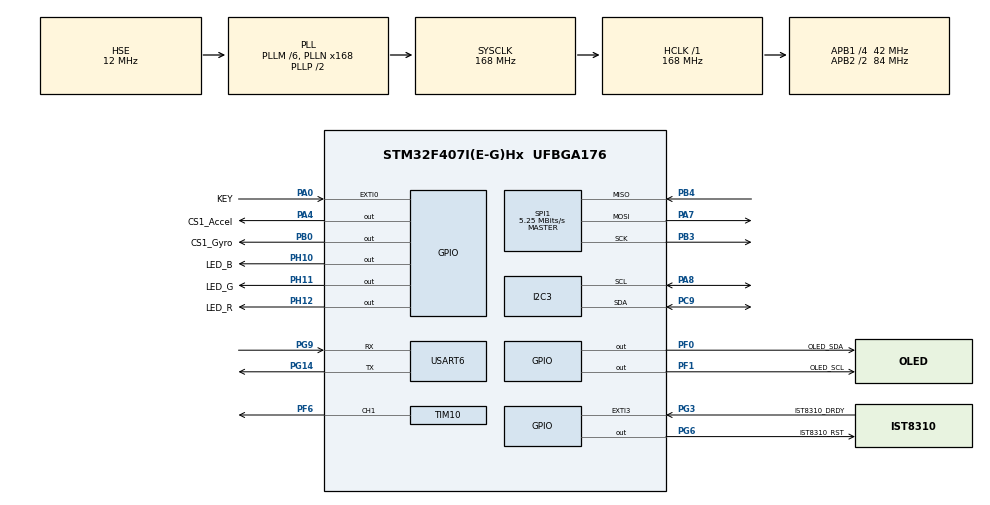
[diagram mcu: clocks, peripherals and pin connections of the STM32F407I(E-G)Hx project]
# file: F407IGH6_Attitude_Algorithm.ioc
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I2C3.I2C_Mode=I2C_Fast
Mcu.Family=STM32F4
Mcu.Name=STM32F407I(E-G)Hx
Mcu.Package=UFBGA176
NVIC.EXTI0_IRQn=true\:0\:0\:false\:false\:true\:true\:true\:true
NVIC.PriorityGroup=NVIC_PRIORITYGROUP_4
NVIC.TIM2_IRQn=true\:0\:0\:true\:false\:true\:true\:true\:true
PA0-WKUP.GPIO_Label=KEY
PA0-WKUP.GPIO_ModeDefaultEXTI=GPIO_MODE_IT_FALLING
PA0-WKUP.GPIO_PuPd=GPIO_PULLUP
PA0-WKUP.Signal=GPXTI0
PA13.Mode=Serial_Wire
PA13.Signal=SYS_JTMS-SWDIO
PA14.Mode=Serial_Wire
PA14.Signal=SYS_JTCK-SWCLK
PA4.GPIO_Label=CS1_Accel
PA4.PinState=GPIO_PIN_SET
PA4.Signal=GPIO_Output
PA7.Mode=Full_Duplex_Master
PA7.Signal=SPI1_MOSI
PA8.Mode=I2C
PA8.Signal=I2C3_SCL
PB0.GPIO_Label=CS1_Gyro
PB0.PinState=GPIO_PIN_SET
PB0.Signal=GPIO_Output
PB3.Mode=Full_Duplex_Master
PB3.Signal=SPI1_SCK
PB4.Mode=Full_Duplex_Master
PB4.Signal=SPI1_MISO
PC9.Mode=I2C
PC9.Signal=I2C3_SDA
PF0.GPIO_Label=OLED_SDA
PF0.Signal=GPIO_Output
PF1.GPIO_Label=OLED_SCL
PF1.Signal=GPIO_Output
PF6.Signal=S_TIM10_CH1
PG14.Mode=Asynchronous
PG14.Signal=USART6_TX
PG3.GPIO_Label=IST8310_DRDY
PG3.GPIO_ModeDefaultEXTI=GPIO_MODE_IT_FALLING
PG3.Signal=GPXTI3
PG6.GPIO_Label=IST8310_RST
PG6.GPIO_PuPd=GPIO_PULLUP
PG6.PinState=GPIO_PIN_SET
PG6.Signal=GPIO_Output
PG9.Mode=Asynchronous
PG9.Signal=USART6_RX
PH0-OSC_IN.Mode=HSE-External-Oscillator
PH0-OSC_IN.Signal=RCC_OSC_IN
PH1-OSC_OUT.Mode=HSE-External-Oscillator
PH1-OSC_OUT.Signal=RCC_OSC_OUT
PH10.GPIO_Label=LED_B
PH10.Signal=GPIO_Output
PH11.GPIO_Label=LED_G
PH11.Signal=GPIO_Output
PH12.GPIO_Label=LED_R
PH12.Signal=GPIO_Output
ProjectManager.HeapSize=0x200
ProjectManager.StackSize=0x400
ProjectManager.TargetToolchain=STM32CubeIDE
RCC.48MHZClocksFreq_Value=84000000
RCC.AHBFreq_Value=168000000
RCC.APB1CLKDivider=RCC_HCLK_DIV4
RCC.APB1Freq_Value=42000000
RCC.APB1TimFreq_Value=84000000
RCC.APB2CLKDivider=RCC_HCLK_DIV2
RCC.APB2Freq_Value=84000000
RCC.APB2TimFreq_Value=168000000
RCC.CortexFreq_Value=168000000
RCC.HCLKFreq_Value=168000000
RCC.HSE_VALUE=12000000
RCC.HSI_VALUE=16000000
RCC.LSE_VALUE=32768
RCC.PLLM=6
RCC.PLLN=168
RCC.PLLSourceVirtual=RCC_PLLSOURCE_HSE
RCC.SYSCLKFreq_VALUE=168000000
RCC.SYSCLKSource=RCC_SYSCLKSOURCE_PLLCLK
RCC.VCOOutputFreq_Value=336000000
SH.S_TIM10_CH1.0=TIM10_CH1,PWM Generation1 CH1
SPI1.BaudRatePrescaler=SPI_BAUDRATEPRESCALER_16
SPI1.CLKPhase=SPI_PHASE_2EDGE
SPI1.CLKPolarity=SPI_POLARITY_HIGH
SPI1.CalculateBaudRate=5.25 MBits/s
SPI1.Direction=SPI_DIRECTION_2LINES
SPI1.Mode=SPI_MODE_MASTER
SPI1.VirtualType=VM_MASTER
TIM10.AutoReloadPreload=TIM_AUTORELOAD_PRELOAD_ENABLE
TIM10.Channel=TIM_CHANNEL_1
TIM10.Period=999
TIM10.Prescaler=167
TIM2.AutoReloadPreload=TIM_AUTORELOAD_PRELOAD_ENABLE
TIM2.Period=999
TIM2.Prescaler=83
USART6.VirtualMode=VM_ASYNC
VP_TIM10_VS_ClockSourceINT.Mode=Enable_Timer
VP_TIM2_VS_ClockSourceINT.Mode=Internal
board=custom

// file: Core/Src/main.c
/* USER CODE BEGIN Header */
/**
  ******************************************************************************
  * @file           : main.c
  * @brief          : Main program body
  ******************************************************************************
  * @attention
  *
  * Copyright (c) 2023 STMicroelectronics.
  * All rights reserved.
  *
  * This software is licensed under terms that can be found in the LICENSE file
  * in the root directory of this software component.
  * If no LICENSE file comes with this software, it is provided AS-IS.
  *
  ******************************************************************************
  */
/* USER CODE END Header */
#include "main.h"
#include "i2c.h"
#include "spi.h"
#include "tim.h"
#include "usart.h"
#include "gpio.h"

/* USER CODE BEGIN Includes */
#include "LED_F407.h"
#include "OLED.h"
#include "IST8310.h"
#include "BMI088.h"
#include "IMU_C.h"
#include "kalman.h"
/* USER CODE END Includes */

/* USER CODE BEGIN PV */
float accdata[3] = {0};
float gyrodata[3] = {0};
float magdata[3] = {0};
float g_roll;
float g_pitch;
float g_yaw;
float g_filter_yaw;
float g_kalman_yaw;
float g_temperature = 0;
uint8_t g_oled_page = 0;
LOW_PASS_FILTER_Typedef g_filter_yaw_struct = {
		.frame_period = 0.01,
		.filter_factor = 0.04
};
kalman g_kalman_yaw_struct = {
		.X_last = (float)0,
		.P_last = 0,
		.Q = 10,
		.R = 400,
		.A = 1,
		.H = 1,
		.X_mid = 0
};
/* USER CODE END PV */

void SystemClock_Config(void);
/* USER CODE BEGIN PFP */
//void HAL_WWDG_EarlyWakeupCallback(WWDG_HandleTypeDef *hwwdg)
//{
////	 LED_ON(LED_R);
//	HAL_WWDG_Refresh(&hwwdg);
//}

void HAL_TIM_PeriodElapsedCallback(TIM_HandleTypeDef *htim)
{
	static uint16_t count = 0;
	if (htim->Instance == TIM2)
	{
		count++;
		count %= 1000;
		if(count % 10 == 0)
		{
//			HAL_WWDG_Refresh(&hwwdg);
			IMU_Data_Fusion_Mahony(0.005, &g_roll, &g_pitch, &g_yaw);
			g_filter_yaw = low_pass_filter(&g_filter_yaw_struct, g_yaw);
			g_kalman_yaw = KalmanFilter(&g_kalman_yaw_struct, g_yaw);
//			g_temperature = BMI088_Get_Temperature();
		}
		if(count % 500 == 0)
		{
			LED_TOG(LED_R);
		}
	}
}

#ifdef OLED
void HAL_GPIO_EXTI_Callback(uint16_t GPIO_Pin)
{
	if (GPIO_Pin == KEY_Pin)
	{
		if (HAL_GPIO_ReadPin(KEY_GPIO_Port, KEY_Pin) == GPIO_PIN_RESET)
		{
			g_oled_page++;
			g_oled_page %= 5;
			LED_TOG(LED_B);
			OLED_Clear();
			OLED_ShowNum(1, 14, g_oled_page, 1);
		}
	}
}
#endif
/* USER CODE END PFP */

int main(void)
{

  /* MCU Configuration--------------------------------------------------------*/

  /* Reset of all peripherals, Initializes the Flash interface and the Systick. */
  HAL_Init();

  /* Configure the system clock */
  SystemClock_Config();

  /* Initialize all configured peripherals */
  MX_GPIO_Init();
  MX_TIM2_Init();
  MX_I2C3_Init();
  MX_SPI1_Init();
  MX_TIM10_Init();
  MX_USART6_UART_Init();
  /* USER CODE BEGIN 2 */
//  uint8_t IMU_error = 0;
  OLED_Init();
//  IMU_error = IMU_Init();
  IMU_Init();
  HAL_TIM_PWM_Start(&htim10, TIM_CHANNEL_1);
  HAL_TIM_Base_Start_IT(&htim2);

  IMU_Start();
  /* USER CODE END 2 */

  /* Infinite loop */
  while (1)
  {

    /* USER CODE BEGIN 3 */
#ifdef OLED
	  HAL_Delay(50);
	  switch (g_oled_page)
	  {
	  case 0:
		  OLED_ShowString(1, 1, "IMU DEMO");
		  OLED_ShowString(2, 1, "ERROR:");OLED_ShowBinNum(2, 7, IMU_error, 8);
		  OLED_ShowString(3, 1, "TEMP:"); OLED_Showfloat(3, 6, g_temperature, 4, 5);
		  break;
	  case 1:
		  OLED_ShowString(1, 1, "Angle");
		  OLED_Showfloat(2, 4, g_roll , 4, 4);
		  OLED_Showfloat(3, 4, g_pitch, 4, 4);
		  OLED_Showfloat(4, 4, g_yaw  , 4, 4);
		  break;
	  case 2:
		  BMI088_Getdata_Acc(accdata);
		  OLED_ShowString(1, 1, "A-C-C");
//		  OLED_ShowHexNum(1, 12, BMI088_Acc_ReadID(), 2);
		  OLED_Showfloat(2, 1, accdata[0], 4, 4);
		  OLED_Showfloat(3, 1, accdata[1], 4, 4);
		  OLED_Showfloat(4, 1, accdata[2], 4, 4);
		  break;
	  case 3:
		  BMI088_Getdata_Gyro(gyrodata);
		  OLED_ShowString(1, 1, "G-Y-R-O");
//		  OLED_ShowHexNum(1, 12, BMI088_Gyro_ReadID(), 2);
		  OLED_Showfloat(2, 1, gyrodata[0], 4, 5);
		  OLED_Showfloat(3, 1, gyrodata[1], 4, 5);
		  OLED_Showfloat(4, 1, gyrodata[2], 4, 5);
		  break;
	  case 4:
		  IST8310_Getdata_Mag(magdata);
		  OLED_ShowString(1, 1, "M-A-G");
		  OLED_ShowHexNum(1, 12, IST8310_ReadID(), 2);
		  OLED_Showfloat(2, 1, magdata[0], 4, 5);
		  OLED_Showfloat(3, 1, magdata[1], 4, 5);
		  OLED_Showfloat(4, 1, magdata[2], 4, 5);
		  break;
	  default: break;
	  }
#endif
  }
  /* USER CODE END 3 */
}

void SystemClock_Config(void)
{
  RCC_OscInitTypeDef RCC_OscInitStruct = {0};
  RCC_ClkInitTypeDef RCC_ClkInitStruct = {0};

  /** Configure the main internal regulator output voltage
  */
  __HAL_RCC_PWR_CLK_ENABLE();
  __HAL_PWR_VOLTAGESCALING_CONFIG(PWR_REGULATOR_VOLTAGE_SCALE1);

  /** Initializes the RCC Oscillators according to the specified parameters
  * in the RCC_OscInitTypeDef structure.
  */
  RCC_OscInitStruct.OscillatorType = RCC_OSCILLATORTYPE_HSE;
  RCC_OscInitStruct.HSEState = RCC_HSE_ON;
  RCC_OscInitStruct.PLL.PLLState = RCC_PLL_ON;
  RCC_OscInitStruct.PLL.PLLSource = RCC_PLLSOURCE_HSE;
  RCC_OscInitStruct.PLL.PLLM = 6;
  RCC_OscInitStruct.PLL.PLLN = 168;
  RCC_OscInitStruct.PLL.PLLP = RCC_PLLP_DIV2;
  RCC_OscInitStruct.PLL.PLLQ = 4;
  if (HAL_RCC_OscConfig(&RCC_OscInitStruct) != HAL_OK)
  {
    Error_Handler();
  }

  /** Initializes the CPU, AHB and APB buses clocks
  */
  RCC_ClkInitStruct.ClockType = RCC_CLOCKTYPE_HCLK|RCC_CLOCKTYPE_SYSCLK
                              |RCC_CLOCKTYPE_PCLK1|RCC_CLOCKTYPE_PCLK2;
  RCC_ClkInitStruct.SYSCLKSource = RCC_SYSCLKSOURCE_PLLCLK;
  RCC_ClkInitStruct.AHBCLKDivider = RCC_SYSCLK_DIV1;
  RCC_ClkInitStruct.APB1CLKDivider = RCC_HCLK_DIV4;
  RCC_ClkInitStruct.APB2CLKDivider = RCC_HCLK_DIV2;

  if (HAL_RCC_ClockConfig(&RCC_ClkInitStruct, FLASH_LATENCY_5) != HAL_OK)
  {
    Error_Handler();
  }
}

void Error_Handler(void)
{
  __disable_irq();
  while (1)
  {
  }
}
